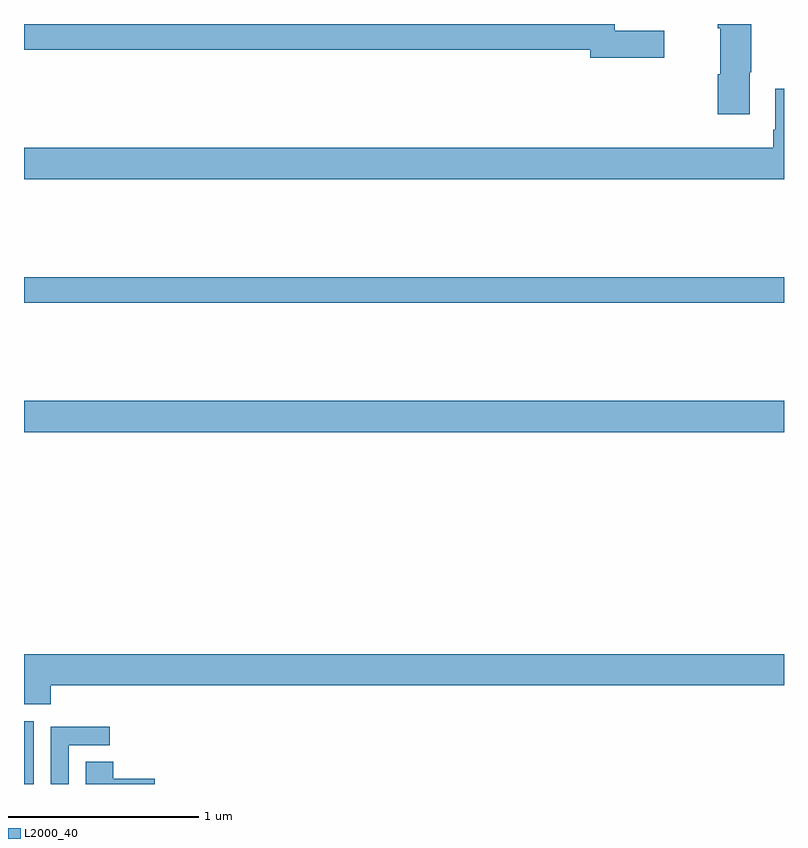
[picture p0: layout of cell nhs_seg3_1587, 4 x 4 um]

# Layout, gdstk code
import gdstk
lib = gdstk.Library(unit=1e-6, precision=1e-09)
def R(c, l, rs):  # rectangles x0, y0, x1, y1
    for r in rs: c.add(gdstk.rectangle(r[:2], r[2:], *l))
def P(c, l, *ps):  # polygons
    for p in ps: c.add(gdstk.Polygon(p, *l))
L2000_40 = (2000, 40)

nhs_seg3_1587 = lib.new_cell('nhs_seg3_1587')
R(nhs_seg3_1587, L2000_40, [(193,696.4,193.051,696.73), (193,698.252,197,698.416), (193,698.932,197,699.068)])
P(nhs_seg3_1587, L2000_40, [(196.369,700.364),(196.108,700.364),(196.108,700.4),(193,700.4),(193,700.264),(195.98,700.264),(195.98,700.222),(196.369,700.222)],
  [(196.819,700.147),(196.827,700.147),(196.827,700.4),(196.652,700.4),(196.652,700.378),(196.664,700.378),(196.664,700.136),(196.652,700.136),(196.652,699.924),(196.819,699.924)],
  [(197,700.06),(196.955,700.06),(196.955,699.844),(196.943,699.844),(196.943,699.748),(193,699.748),(193,699.584),(197,699.584)],
  [(193.142,696.92),(197,696.92),(197,697.084),(193,697.084),(193,696.821),(193.142,696.821)],
  [(193.236,696.603),(193.45,696.603),(193.45,696.702),(193.14,696.702),(193.14,696.4),(193.236,696.4)],
  [(193.687,696.428),(193.469,696.428),(193.469,696.518),(193.325,696.518),(193.325,696.4),(193.687,696.4)])

lib.write_gds('nhs_seg3_1587.gds')
